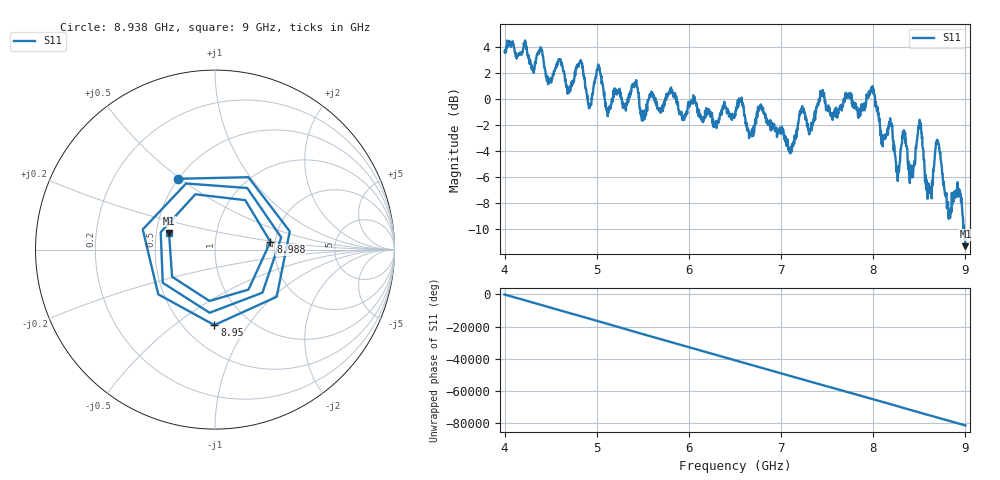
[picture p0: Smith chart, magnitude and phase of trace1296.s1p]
! Created with skrf 1.8.0 (http://scikit-rf.org).
# Hz S RI R 50.0
!freq ReS11 ImS11
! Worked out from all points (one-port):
!   1601 points, 4 GHz to 9 GHz, reference 50 ohm
!   lowest |S11| = -11.3 dB at 9 GHz (marker M1), VSWR 1.75, Z = 29.2 + j5.83 ohm
!   |S11| at or under -10 dB: 8.986357 GHz to end of sweep
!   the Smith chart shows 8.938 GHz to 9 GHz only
!   S11 on the Smith chart (normalised r, x): 8.938 GHz: 0.50, +0.49; 8.95 GHz: 0.70, -0.71; 8.988 GHz: 1.88, +0.18; 9 GHz: 0.58, +0.12
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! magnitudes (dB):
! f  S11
! 4 GHz  3.7
! 4.625 GHz  2.6
! 4.697 GHz  0.7
! 4.825 GHz  3.0
! 4.922 GHz  -0.7
! 5.016 GHz  2.7
! 5.116 GHz  -0.7
! 5.25 GHz  0.5
! 5.875 GHz  -0.4
! 6.5 GHz  -1.1
! 7.125 GHz  -3.6
! 7.222 GHz  -0.7
! 7.75 GHz  0.1
! 7.994 GHz  0.8
! 8.1 GHz  -3.1
! 8.194 GHz  -2.0
! 8.259 GHz  -5.5
! 8.328 GHz  -2.8
! 8.375 GHz  -4.9
! 8.419 GHz  -5.6
! 8.506 GHz  -1.6
! 8.597 GHz  -6.8
! 8.697 GHz  -3.2
! 8.822 GHz  -8.6
! 8.938 GHz  -7.0
! 8.95 GHz  -7.5
! 8.988 GHz  -10.1
! 9 GHz  -11.3
